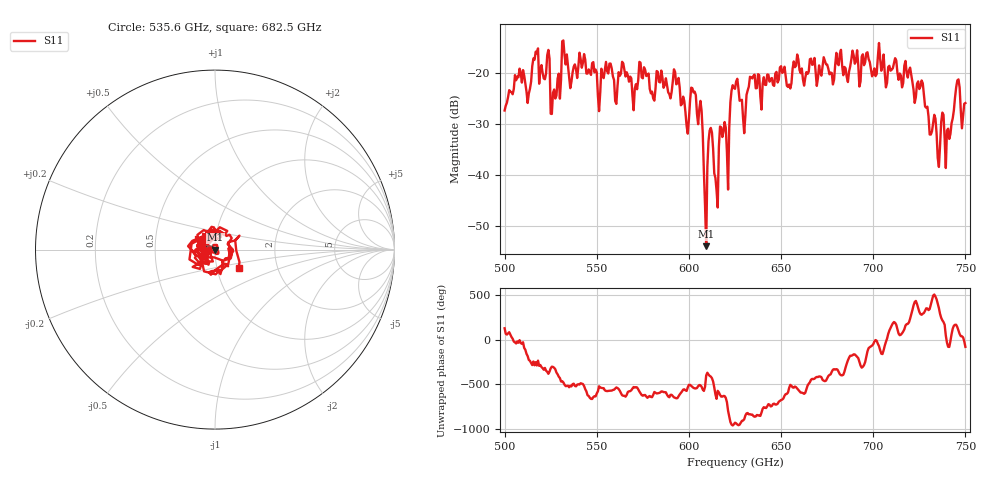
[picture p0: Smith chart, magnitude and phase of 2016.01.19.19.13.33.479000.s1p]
!Created with skrf (http://scikit-rf.org).
# GHz S RI R 50.0
!freq ReS11 ImS11
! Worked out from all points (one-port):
!   401 points, 500 GHz to 750 GHz, reference 50 ohm
!   lowest |S11| = -54.0 dB at 609.4 GHz (marker M1), VSWR 1.00, Z = 50.2 - j0.129 ohm
!   |S11| at or under -10 dB: start of sweep to end of sweep
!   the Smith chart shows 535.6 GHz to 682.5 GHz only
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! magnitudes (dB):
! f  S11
! 500 GHz  -27.4
! 506.9 GHz  -20.8
! 513.1 GHz  -24.1
! 516.9 GHz  -15.9
! 523.1 GHz  -16.5
! 526.2 GHz  -23.9
! 531.2 GHz  -13.8
! 551.9 GHz  -23.9
! 562.5 GHz  -20.6
! 593.8 GHz  -22.0
! 598.8 GHz  -30.4
! 602.5 GHz  -23.9
! 606.2 GHz  -25.5
! 609.4 GHz  -54.0
! 611.2 GHz  -31.3
! 615 GHz  -43.1
! 617.5 GHz  -30.7
! 621.2 GHz  -42.9
! 625 GHz  -23.1
! 629.4 GHz  -28.9
! 634.4 GHz  -21.1
! 656.2 GHz  -19.2
! 687.5 GHz  -18.7
! 718.8 GHz  -20.9
! 735 GHz  -36.7
! 740.6 GHz  -31.0
! 745.6 GHz  -21.5
! 750 GHz  -25.9
